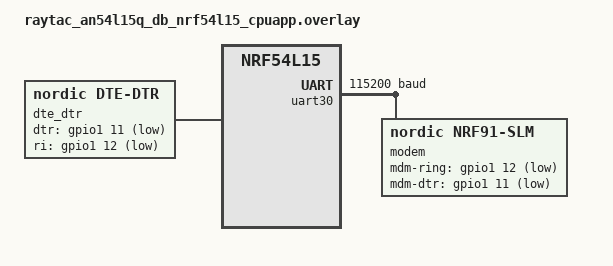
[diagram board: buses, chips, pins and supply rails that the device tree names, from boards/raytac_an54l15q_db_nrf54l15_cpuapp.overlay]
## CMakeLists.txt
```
#
# Copyright (c) 2025 Nordic Semiconductor ASA
#
# SPDX-License-Identifier: LicenseRef-Nordic-5-Clause
#

cmake_minimum_required(VERSION 3.20.0)

find_package(Zephyr REQUIRED HINTS $ENV{ZEPHYR_BASE})
project(app)

target_sources(app PRIVATE
	src/main.c
	src/host_power_profile.c
)

# Apply certificate date validation to the TLS library as well as the app.
zephyr_include_directories(src)
zephyr_compile_definitions(MBEDTLS_USER_CONFIG_FILE="tls_time.h")
```

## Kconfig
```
mainmenu "Serial Modem periodic HTTPS test"

config HTTPS_TEST_INTERVAL_SECONDS
    int "HTTPS request start-to-start interval in seconds"
    range 1 86400
    default 60

choice HOST_POWER_PROFILE
	prompt "Host-controlled cellular power profile"
	default HOST_POWER_PROFILE_NONE

config HOST_POWER_PROFILE_NONE
	bool "Do not change PSM or eDRX"
	select SM_AT_CLIENT
	help
	  Leave the modem settings unchanged at startup. The runtime
	  power_profile shell command remains available.

config HOST_POWER_PROFILE_REGISTERED
	bool "Registered with PSM and eDRX disabled"
	select SM_AT_CLIENT
	help
	  Before PPP startup, the nRF54 disables PSM and eDRX through the
	  Serial Modem AT interface and verifies the resulting configuration.

config HOST_POWER_PROFILE_PSM
	bool "PSM requested with eDRX disabled"
	select SM_AT_CLIENT
	help
	  Before PPP startup, the nRF54 requests PSM, disables eDRX, and
	  verifies the requested PSM timers through the Serial Modem AT interface.

config HOST_POWER_PROFILE_XSLEEP
	bool "Host-issued XSLEEP between HTTPS cycles"
	select SM_AT_CLIENT
	help
	  Disable cellular PSM and eDRX during startup. After each HTTPS cycle,
	  suspend the cellular interface. The patched NCS v3.2.1 legacy cellular
	  driver sends AT+CFUN=4 and AT#XSLEEP=1 before releasing CMUX. Resuming
	  the interface asserts DTR and starts the Serial Modem again.

endchoice

config HOST_POWER_PROFILE_PSM_TAU
	string "Requested periodic TAU as a GPRS Timer 3 bit string"
	default "00100001"

config HOST_POWER_PROFILE_PSM_ACTIVE_TIME
	string "Requested Active-Time as a GPRS Timer 2 bit string"
	default "00000000"

config HOST_POWER_PROFILE_EDRX_ACT_TYPE
	int "eDRX access technology (4=LTE-M, 5=NB-IoT, 6=NTN NB-IoT)"
	range 4 6
	default 4

config HOST_POWER_PROFILE_EDRX_VALUE
	string "Requested four-bit eDRX value"
	default "0011"

source "Kconfig.zephyr"
```

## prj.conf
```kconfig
#
# Copyright (c) 2025 Nordic Semiconductor ASA
#
# SPDX-License-Identifier: LicenseRef-Nordic-5-Clause
#

# Networking
CONFIG_NETWORKING=y
CONFIG_NET_NATIVE=y
CONFIG_NET_L2_PPP=y
CONFIG_NET_L2_ETHERNET=n
CONFIG_NET_IPV4=y
CONFIG_NET_IPV6=y
CONFIG_NET_UDP=y
CONFIG_NET_TCP=y
CONFIG_NET_SOCKETS=y
CONFIG_NET_CONTEXT_RCVTIMEO=y
CONFIG_ZVFS_POLL_MAX=20
CONFIG_ZVFS_OPEN_MAX=20
CONFIG_POSIX_API=y
CONFIG_TEST_RANDOM_GENERATOR=n
CONFIG_ENTROPY_GENERATOR=y
CONFIG_HARDWARE_DEVICE_CS_GENERATOR=y
CONFIG_NET_ZPERF=n
# Sized for one HTTPS request at a time, plus DNS/SNTP and PPP control traffic.
CONFIG_NET_PKT_RX_COUNT=8
CONFIG_NET_PKT_TX_COUNT=8
CONFIG_NET_BUF_RX_COUNT=16
CONFIG_NET_BUF_TX_COUNT=16
CONFIG_NET_BUF_DATA_SIZE=256

# DNS
CONFIG_DNS_RESOLVER=y
CONFIG_DNS_RESOLVER_MAX_SERVERS=4
CONFIG_NET_L2_PPP_OPTION_DNS_USE=y

# Network management
CONFIG_NET_MGMT=y
CONFIG_NET_MGMT_EVENT=y
CONFIG_NET_CONNECTION_MANAGER=y

# Modem driver
CONFIG_MODEM=y
CONFIG_MODEM_CELLULAR=y
CONFIG_PM_DEVICE=y
CONFIG_PM_DEVICE_RUNTIME=y
CONFIG_PM_DEVICE_RUNTIME_USE_DEDICATED_WQ=y
CONFIG_MODEM_CMUX_MTU=127
CONFIG_MODEM_CMUX_WORK_BUFFER_SIZE_EXTRA=532
CONFIG_MODEM_CELLULAR_UART_BUFFER_SIZES=532

# Shell utilities
CONFIG_SHELL=y
CONFIG_NET_SHELL=y
CONFIG_PM_DEVICE_SHELL=y
CONFIG_NET_MGMT_EVENT_MONITOR=y
CONFIG_NET_MGMT_EVENT_MONITOR_AUTO_START=n

# Logging
CONFIG_LOG=y
CONFIG_MODEM_LOG_LEVEL_DBG=y
CONFIG_MODEM_CMUX_LOG_LEVEL_DBG=y

CONFIG_SHELL_LOG_BACKEND=y

# Periodic verified HTTPS requests (performed on the nRF54).
CONFIG_HTTP_CLIENT=y
CONFIG_SNTP=y
CONFIG_NET_SOCKETS_SOCKOPT_TLS=y
CONFIG_NET_SOCKETS_TLS_MAX_CONTEXTS=1
CONFIG_NET_SOCKETS_CONNECT_TIMEOUT=15000
CONFIG_NET_SOCKETS_DNS_TIMEOUT=5000
CONFIG_MBEDTLS=y
CONFIG_MBEDTLS_ENABLE_HEAP=y
# Retain headroom for certificate parsing and the full 16 KiB TLS receive record.
CONFIG_MBEDTLS_HEAP_SIZE=40960
CONFIG_MBEDTLS_TLS_VERSION_1_2=y
CONFIG_MBEDTLS_KEY_EXCHANGE_ECDHE_RSA_ENABLED=y
CONFIG_MBEDTLS_RSA_C=y
CONFIG_MBEDTLS_SSL_IN_CONTENT_LEN=16384
CONFIG_MBEDTLS_SSL_OUT_CONTENT_LEN=2048
CONFIG_HEAP_MEM_POOL_SIZE=4096
CONFIG_HTTPS_TEST_INTERVAL_SECONDS=60

CONFIG_MBEDTLS_TLS_LIBRARY=y
CONFIG_MBEDTLS_LEGACY_CRYPTO_C=y
CONFIG_MBEDTLS_PKCS1_V15=y
CONFIG_PSA_WANT_ALG_GCM=y
CONFIG_PSA_WANT_KEY_TYPE_AES=y
CONFIG_PSA_WANT_ALG_SHA_256=y
CONFIG_PSA_WANT_ALG_SHA_384=y
CONFIG_PSA_WANT_ALG_ECDH=y
CONFIG_PSA_WANT_ECC_SECP_R1_256=y
CONFIG_PSA_WANT_KEY_TYPE_ECC_KEY_PAIR_GENERATE=y
CONFIG_PSA_WANT_KEY_TYPE_ECC_KEY_PAIR_IMPORT=y
CONFIG_PSA_WANT_KEY_TYPE_ECC_PUBLIC_KEY=y
CONFIG_PSA_WANT_ALG_RSA_PKCS1V15_SIGN=y
CONFIG_PSA_WANT_KEY_TYPE_RSA_PUBLIC_KEY=y
CONFIG_PSA_WANT_RSA_KEY_SIZE_2048=y

CONFIG_MBEDTLS_SSL_SERVER_NAME_INDICATION=y
```

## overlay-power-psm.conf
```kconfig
# Host-controlled PSM profile: request one-hour TAU and zero-second Active-Time.
CONFIG_HOST_POWER_PROFILE_PSM=y
CONFIG_HOST_POWER_PROFILE_PSM_TAU="00100001"
CONFIG_HOST_POWER_PROFILE_PSM_ACTIVE_TIME="00000000"
```

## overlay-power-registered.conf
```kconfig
# Host-controlled registered baseline: disable PSM and eDRX.
CONFIG_HOST_POWER_PROFILE_REGISTERED=y
```

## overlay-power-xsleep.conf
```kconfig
# Host-only Serial Modem XSLEEP measurement profile.
CONFIG_HOST_POWER_PROFILE_XSLEEP=y
```

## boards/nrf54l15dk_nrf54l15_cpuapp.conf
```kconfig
#
# Copyright (c) 2025 Nordic Semiconductor ASA
#
# SPDX-License-Identifier: LicenseRef-Nordic-5-Clause
#

# Use UART async API with PM_RUNTIME.
CONFIG_UART_INTERRUPT_DRIVEN=n
CONFIG_UART_ASYNC_API=y
CONFIG_UART_CONSOLE=y
CONFIG_SHELL_BACKEND_SERIAL_API_ASYNC=y
CONFIG_SHELL_BACKEND_SERIAL=y

# UART20 is routed through VCOM1. UART30/VCOM0 is reserved for the modem.
CONFIG_USE_SEGGER_RTT=n
CONFIG_RTT_CONSOLE=n
CONFIG_SHELL_BACKEND_RTT=n

# For debugging purposes, enable GPIO shell commands.
CONFIG_GPIO=y
CONFIG_GPIO_SHELL=y
```

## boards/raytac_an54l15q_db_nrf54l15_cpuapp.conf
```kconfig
#
# Copyright (c) 2025 Nordic Semiconductor ASA
#
# SPDX-License-Identifier: LicenseRef-Nordic-5-Clause
#

# Use UART async API with PM_RUNTIME.
CONFIG_UART_INTERRUPT_DRIVEN=n
CONFIG_UART_ASYNC_API=y

# Use RTT for the shell and diagnostics on the Raytac target.
CONFIG_USE_SEGGER_RTT=y
CONFIG_UART_CONSOLE=n
CONFIG_RTT_CONSOLE=y
CONFIG_SHELL_BACKEND_SERIAL=n
CONFIG_SHELL_BACKEND_RTT=y
CONFIG_LOG_BACKEND_UART=n
CONFIG_LOG_BACKEND_RTT=n

# For debugging purposes, enable GPIO shell commands.
CONFIG_GPIO=y
CONFIG_GPIO_SHELL=y
```

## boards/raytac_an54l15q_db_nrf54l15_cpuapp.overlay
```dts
/*
 * Copyright (c) 2025 Nordic Semiconductor ASA
 *
 * SPDX-License-Identifier: LicenseRef-Nordic-5-Clause
 */


/*
 * See nRF54L15DK GPIO documentation from
 * https://docs.nordicsemi.com/bundle/ug_nrf54l15_dk/page/UG/nRF54L15_DK/hw_desription/connector_if.html
 *
 * UART0 is used for Serial Modem communication and UART1 is used for console/shell.
 *
 * Note: Disable VCOM0 from Board Configurator to release UART0 for Serial Modem.
 *
 * UART0 located on the P0 connector is the "uart30" instance in the device tree.
 * UART1 is "uart20" in the device tree and it is routed to the VCOM1 on the interface chip.
 * RI and DTR signals are located on P1 connector.
 */

/ {
	chosen {
		/* Switch console to uart20 */
		zephyr,console = &uart20;
		zephyr,shell-uart = &uart20;
		ncs,sm-uart = &uart30;
	};

	dte_dtr: dte_dtr {
		compatible = "nordic,dte-dtr";
		dtr-gpios = <&gpio1 11 GPIO_ACTIVE_LOW>;
		ri-gpios = <&gpio1 12 (GPIO_ACTIVE_LOW | GPIO_PULL_UP)>;
	};
};

/* Zephyr modem UART <-> nRF91 Serial Modem UART */
&uart30 {
	status = "okay";
	current-speed = <115200>;
	hw-flow-control;
	zephyr,pm-device-runtime-auto;

	/* Nordic nRF91 Serial Modem configuration */
	modem: modem {
		compatible = "nordic,nrf91-slm";
		status = "okay";
		mdm-ring-gpios = <&gpio1 12 (GPIO_ACTIVE_LOW | GPIO_PULL_UP)>;
		mdm-dtr-gpios = <&gpio1 11 GPIO_ACTIVE_LOW>;
		zephyr,pm-device-runtime-auto;
		cmux-enable-runtime-power-save;
		cmux-close-pipe-on-power-save;
		cmux-idle-timeout-ms = <5000>;
	};
};

&gpio1 {
	status = "okay";
};
```

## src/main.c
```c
/*
 * Copyright (c) 2025 Nordic Semiconductor ASA
 *
 * SPDX-License-Identifier: LicenseRef-Nordic-5-Clause
 */
#include <errno.h>
#include <time.h>
#include <zephyr/kernel.h>
#include <zephyr/logging/log.h>
#include <zephyr/net/http/client.h>
#include <zephyr/net/net_if.h>
#include <zephyr/net/ppp.h>
#include <zephyr/net/sntp.h>
#include <zephyr/net/socket.h>
#include <zephyr/net/tls_credentials.h>
#include "httpbin_ca.h"
#include "host_power_profile.h"

LOG_MODULE_REGISTER(https_test, LOG_LEVEL_INF);

#define HOST "httpbin.org"
#define CA_TAG 42
#define IO_TIMEOUT_MS 15000
#define SNTP_TIMEOUT_MS 5000
#define MODEM_BOOT_DELAY_SECONDS 2
#define PPP_START_TIMEOUT_SECONDS 180
#define PPP_RESTART_DELAY_SECONDS 2

struct request_result {
	size_t bytes;
	uint16_t status;
	bool complete;
};

static uint8_t response_buffer[1024];

static bool connected(struct net_if *iface)
{
	return net_if_is_up(iface) && net_if_is_carrier_ok(iface) &&
	       net_if_ipv4_get_global_addr(iface, NET_ADDR_PREFERRED) != NULL;
}

static int response_cb(struct http_response *rsp, enum http_final_call final,
		       void *user_data)
{
	struct request_result *result = user_data;

	result->status = rsp->http_status_code;
	result->bytes += rsp->body_frag_len;
	result->complete = final == HTTP_DATA_FINAL && rsp->message_complete;
	return 0;
}

static int synchronize_time(void)
{
	struct sntp_time now;
	struct zsock_addrinfo hints = {
		.ai_family = AF_INET, .ai_socktype = SOCK_DGRAM,
	};
	struct zsock_addrinfo *address = NULL;
	int ret = zsock_getaddrinfo("time.google.com", "123", &hints, &address);

	if (ret != 0) {
		return -EHOSTUNREACH;
	}
	ret = sntp_simple_addr(address->ai_addr, address->ai_addrlen,
			       SNTP_TIMEOUT_MS, &now);
	zsock_freeaddrinfo(address);

	if (ret < 0) {
		return ret;
	}
	struct timespec ts = {.tv_sec = now.seconds, .tv_nsec = 0};

	if (clock_settime(CLOCK_REALTIME, &ts) < 0) {
		return -errno;
	}
	LOG_INF("Time synchronized; certificate date checking enabled");
	return 0;
}

static int request_once(struct request_result *result)
{
	struct zsock_addrinfo hints = {
		.ai_family = AF_INET, .ai_socktype = SOCK_STREAM,
	};
	struct zsock_addrinfo *addresses = NULL;
	const sec_tag_t tags[] = {CA_TAG};
	const char *headers[] = {"Connection: close\r\n", "Accept: application/json\r\n", NULL};
	struct zsock_timeval timeout = {.tv_sec = IO_TIMEOUT_MS / 1000};
	int verify = TLS_PEER_VERIFY_REQUIRED;
	int ret = zsock_getaddrinfo(HOST, "443", &hints, &addresses);
	int fd = -1;

	if (ret != 0) {
		LOG_WRN("DNS lookup failed: %d", ret);
		return -EHOSTUNREACH;
	}
	fd = zsock_socket(AF_INET, SOCK_STREAM, IPPROTO_TLS_1_2);
	if (fd < 0) {
		ret = -errno;
		goto out;
	}
	if (zsock_setsockopt(fd, SOL_TLS, TLS_SEC_TAG_LIST, tags, sizeof(tags)) < 0 ||
		zsock_setsockopt(fd, SOL_TLS, TLS_HOSTNAME, HOST, sizeof(HOST) - 1) < 0 ||
		zsock_setsockopt(fd, SOL_TLS, TLS_PEER_VERIFY, &verify, sizeof(verify)) < 0 ||
		zsock_setsockopt(fd, SOL_SOCKET, SO_SNDTIMEO, &timeout, sizeof(timeout)) < 0 ||
		zsock_setsockopt(fd, SOL_SOCKET, SO_RCVTIMEO, &timeout, sizeof(timeout)) < 0) {
		ret = -errno;
		goto out;
	}
	if (zsock_connect(fd, addresses->ai_addr, addresses->ai_addrlen) < 0) {
		ret = -errno;
		LOG_WRN("TCP/TLS connection failed: %d", ret);
		goto out;
	}
	struct http_request req = {
		.method = HTTP_GET, .url = "/get", .host = HOST,
		.protocol = "HTTP/1.1", .header_fields = headers,
		.response = response_cb, .recv_buf = response_buffer,
		.recv_buf_len = sizeof(response_buffer),
	};

	ret = http_client_req(fd, &req, IO_TIMEOUT_MS, result);
	if (ret >= 0) {
		ret = result->status == 200 && result->complete ? 0 : -EBADMSG;
	}
out:
	if (fd >= 0) {
		zsock_close(fd);
	}
	zsock_freeaddrinfo(addresses);
	return ret;
}

static int start_ppp(struct net_if *iface)
{
	int ret = net_if_up(iface);

	if (ret < 0 && ret != -EALREADY) {
		LOG_ERR("Cannot start PPP: %d", ret);
		return ret;
	}

	return 0;
}

static int restart_ppp(struct net_if *iface)
{
	int ret;

	LOG_WRN("PPP has no IPv4 after %d seconds; restarting interface",
		PPP_START_TIMEOUT_SECONDS);
	ret = net_if_down(iface);
	if (ret < 0 && ret != -EALREADY) {
		LOG_WRN("Cannot stop PPP for recovery: %d", ret);
	}
	k_sleep(K_SECONDS(PPP_RESTART_DELAY_SECONDS));
	return start_ppp(iface);
}

static int sleep_until_next_cycle(struct net_if *iface, int64_t deadline)
{
	int ret = net_if_down(iface);

	if (ret < 0 && ret != -EALREADY) {
		LOG_ERR("Cannot suspend PPP for XSLEEP: %d", ret);
		return ret;
	}

	LOG_INF("PPP suspended; host shutdown script requested");
	while (true) {
		int64_t remaining = deadline - k_uptime_get();

		if (remaining <= 0) {
			break;
		}
		k_sleep(K_MSEC(MIN(remaining, 1000)));
	}

	LOG_INF("Sleep deadline reached; resuming PPP and waking Serial Modem with DTR");
	return start_ppp(iface);
}

static void https_worker(void *a, void *b, void *c)
{
	ARG_UNUSED(a);
	ARG_UNUSED(b);
	ARG_UNUSED(c);
	struct net_if *iface = net_if_get_first_by_type(&NET_L2_GET_NAME(PPP));
	const int64_t interval = (int64_t)CONFIG_HTTPS_TEST_INTERVAL_SECONDS * 1000;
	bool time_ready = false;
	const bool sleep_between_cycles =
		host_power_profile_suspends_between_cycles();
	uint32_t cycle = 0;
	int64_t next = 0;
	int64_t ppp_started;
	int ret;

	if (iface == NULL) {
		LOG_ERR("No PPP interface: check the board modem overlay");
		return;
	}
	ret = tls_credential_add(CA_TAG, TLS_CREDENTIAL_CA_CERTIFICATE,
							 httpbin_ca, sizeof(httpbin_ca));
	if (ret < 0) {
		LOG_ERR("Cannot install CA certificate: %d", ret);
		return;
	}
	net_if_set_default(iface);
	/* On simultaneous board power-up, let Serial Modem advertise Ready before
	 * the cellular driver sends its first AT command. */
	k_sleep(K_SECONDS(MODEM_BOOT_DELAY_SECONDS));
	ret = host_power_profile_apply(iface);
	if (ret < 0) {
		LOG_ERR("Cannot apply host power profile: %d", ret);
		return;
	}
	ret = start_ppp(iface);
	if (ret < 0) {
		return;
	}
	ppp_started = k_uptime_get();
	LOG_INF("Waiting for PPP IPv4; GET https://" HOST "/get every %d seconds",
			CONFIG_HTTPS_TEST_INTERVAL_SECONDS);
	while (true) {
		if (!connected(iface)) {
			if (!sleep_between_cycles) {
				next = 0;
			}
			if (k_uptime_get() - ppp_started >=
			    PPP_START_TIMEOUT_SECONDS * MSEC_PER_SEC) {
				if (sleep_between_cycles) {
					LOG_WRN("PPP still has no IPv4 after %d seconds; "
						"XSLEEP profile continues waiting",
						PPP_START_TIMEOUT_SECONDS);
					ppp_started = k_uptime_get();
				} else {
					ret = restart_ppp(iface);
					if (ret < 0) {
						return;
					}
					ppp_started = k_uptime_get();
				}
			}
			k_sleep(K_SECONDS(1));
			continue;
		}
		/* A later disconnect gets a fresh recovery window. */
		ppp_started = k_uptime_get();
		host_power_profile_network_lock();
		if (!connected(iface)) {
			host_power_profile_network_unlock();
			continue;
		}
		if (!time_ready) {
			ret = synchronize_time();
			if (ret < 0) {
				host_power_profile_network_unlock();
				LOG_WRN("Time sync failed: %d; retry in 10 seconds", ret);
				k_sleep(K_SECONDS(10));
				continue;
			}
			time_ready = true;
		}
		int64_t now = k_uptime_get();

		if (next == 0) {
			next = now;
		}
		if (now < next) {
			host_power_profile_network_unlock();
			k_sleep(K_MSEC(MIN(next - now, 1000)));
			continue;
		}
		struct request_result result = {0};
		int64_t start = k_uptime_get();

		LOG_INF("cycle=%u start", ++cycle);
		ret = request_once(&result);
		LOG_INF("cycle=%u %s status=%u bytes=%u complete=%u duration_ms=%lld error=%d",
				cycle, ret == 0 ? "SUCCESS" : "FAIL", result.status,
				(unsigned int)result.bytes, result.complete,
				(long long)(k_uptime_get() - start), ret);
		host_power_profile_network_unlock();
		next += interval;
		now = k_uptime_get();
		if (next <= now) {
			int64_t skipped = (now - next) / interval + 1;

			next += skipped * interval;
			LOG_WRN("cycle=%u skipped_intervals=%lld", cycle, (long long)skipped);
		}
		if (sleep_between_cycles) {
			ret = sleep_until_next_cycle(iface, next);
			if (ret < 0) {
				return;
			}
			ppp_started = k_uptime_get();
		}
	}
}

K_THREAD_DEFINE(https_thread, 8192, https_worker, NULL, NULL, NULL, 7, 0, 0);

int main(void)
{
	return 0;
}
```

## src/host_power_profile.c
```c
/*
 * Copyright (c) 2026 Nordic Semiconductor ASA
 *
 * SPDX-License-Identifier: LicenseRef-Nordic-5-Clause
 */

#include <errno.h>
#include <string.h>
#include <zephyr/device.h>
#include <zephyr/kernel.h>
#include <zephyr/logging/log.h>
#include <zephyr/net/net_if.h>
#include <zephyr/net/ppp.h>
#include <zephyr/pm/device.h>
#include <zephyr/shell/shell.h>

#include <sm_at_client.h>

#include "host_power_profile.h"

LOG_MODULE_REGISTER(host_power_profile, LOG_LEVEL_INF);

#define COMMAND_TIMEOUT_SECONDS 10
#define HANDOFF_TIMEOUT_SECONDS 35
#define RESPONSE_BUFFER_SIZE 192

/* Supplied by patches/ncs-v3.2.1-nrf91-slm-uart-handoff.patch. */
extern int modem_cellular_uart_handoff_begin(const struct device *dev);
extern int modem_cellular_uart_handoff_end(const struct device *dev);

enum power_profile {
	POWER_PROFILE_UNCHANGED,
	POWER_PROFILE_REGISTERED,
	POWER_PROFILE_PSM,
	POWER_PROFILE_EDRX,
	POWER_PROFILE_PSM_EDRX,
};

static const struct device *const modem_dev = DEVICE_DT_GET(DT_NODELABEL(modem));
static K_SEM_DEFINE(response_complete, 0, 1);
static K_MUTEX_DEFINE(network_mutex);
static char response[RESPONSE_BUFFER_SIZE];
static size_t response_length;
static bool capture_response;
static enum power_profile active_profile = POWER_PROFILE_UNCHANGED;

static const char *profile_name(enum power_profile profile)
{
	switch (profile) {
	case POWER_PROFILE_REGISTERED:
		return "registered";
	case POWER_PROFILE_PSM:
		return "psm";
	case POWER_PROFILE_EDRX:
		return "edrx";
	case POWER_PROFILE_PSM_EDRX:
		return "psm_edrx";
	default:
		return "unchanged";
	}
}

static void response_handler(const uint8_t *data, size_t length)
{
	if (!capture_response) {
		return;
	}

	size_t available = sizeof(response) - 1 - response_length;
	size_t copied = MIN(length, available);

	memcpy(response + response_length, data, copied);
	response_length += copied;
	response[response_length] = '\0';

	if (strstr(response, "\r\nOK\r\n") != NULL ||
	    strstr(response, "\r\nERROR\r\n") != NULL ||
	    strstr(response, "\r\n+CME ERROR:") != NULL ||
	    strstr(response, "\r\n+CMS ERROR:") != NULL) {
		k_sem_give(&response_complete);
	}
}

static int command_send(const char *command)
{
	int ret;

	capture_response = false;
	response_length = 0;
	response[0] = '\0';
	k_sem_reset(&response_complete);
	capture_response = true;

	ret = sm_at_client_send_cmd(command, COMMAND_TIMEOUT_SECONDS);
	if (ret != AT_CMD_OK) {
		capture_response = false;
		LOG_ERR("%s failed: %d", command, ret);
		return ret < 0 ? ret : -EIO;
	}

	ret = k_sem_take(&response_complete, K_SECONDS(1));
	capture_response = false;
	if (ret < 0) {
		LOG_ERR("Did not capture complete response to %s", command);
	}

	return ret;
}

static int response_require(const char *description, const char *value)
{
	if (strstr(response, value) == NULL) {
		LOG_ERR("%s verification failed: %s", description, response);
		return -EIO;
	}

	return 0;
}

static int edrx_disable_and_verify(void)
{
	int ret = command_send("AT+CEDRXS=0");

	if (ret < 0) {
		return ret;
	}
	ret = command_send("AT+CEDRXS?");
	if (ret < 0) {
		return ret;
	}
	if (strstr(response, "+CEDRXS:") != NULL) {
		LOG_ERR("eDRX remains configured: %s", response);
		return -EIO;
	}

	return 0;
}

static int edrx_enable_and_verify(void)
{
	char command[40];
	int ret;

	snprintk(command, sizeof(command), "AT+CEDRXS=2,%d,\"%s\"",
		 CONFIG_HOST_POWER_PROFILE_EDRX_ACT_TYPE,
		 CONFIG_HOST_POWER_PROFILE_EDRX_VALUE);
	ret = command_send(command);
	if (ret < 0) {
		return ret;
	}
	ret = command_send("AT+CEDRXS?");
	if (ret < 0) {
		return ret;
	}
	ret = response_require("eDRX enabled", "+CEDRXS:");
	if (ret == 0) {
		ret = response_require("requested eDRX value",
				       CONFIG_HOST_POWER_PROFILE_EDRX_VALUE);
	}

	return ret;
}

static int profile_configure(enum power_profile profile)
{
	bool psm_enabled = profile == POWER_PROFILE_PSM ||
			   profile == POWER_PROFILE_PSM_EDRX;
	bool edrx_enabled = profile == POWER_PROFILE_EDRX ||
			    profile == POWER_PROFILE_PSM_EDRX;
	int ret = command_send("AT+CFUN=4");

	if (ret < 0) {
		return ret;
	}

	if (!psm_enabled) {
		ret = command_send("AT+CPSMS=0");
	} else {
		char command[64];

		snprintk(command, sizeof(command), "AT+CPSMS=1,,,\"%s\",\"%s\"",
			 CONFIG_HOST_POWER_PROFILE_PSM_TAU,
			 CONFIG_HOST_POWER_PROFILE_PSM_ACTIVE_TIME);
		ret = command_send(command);
	}
	if (ret < 0) {
		return ret;
	}

	ret = edrx_enabled ? edrx_enable_and_verify() : edrx_disable_and_verify();
	if (ret < 0) {
		return ret;
	}
	ret = command_send("AT+CPSMS?");
	if (ret < 0) {
		return ret;
	}

	if (!psm_enabled) {
		ret = response_require("PSM disabled", "+CPSMS: 0");
	} else {
		ret = response_require("PSM enabled", "+CPSMS: 1");
		if (ret == 0) {
			ret = response_require("requested periodic TAU",
					       CONFIG_HOST_POWER_PROFILE_PSM_TAU);
		}
		if (ret == 0) {
			ret = response_require("requested Active-Time",
					       CONFIG_HOST_POWER_PROFILE_PSM_ACTIVE_TIME);
		}
	}

	return ret;
}

static int wait_for_modem_suspended(void)
{
	int64_t deadline = k_uptime_get() + HANDOFF_TIMEOUT_SECONDS * MSEC_PER_SEC;

	while (k_uptime_get() < deadline) {
		enum pm_device_state state;
		int ret = pm_device_state_get(modem_dev, &state);

		if (ret < 0) {
			return ret;
		}
		if (state == PM_DEVICE_STATE_SUSPENDED) {
			return 0;
		}
		k_sleep(K_MSEC(20));
	}

	return -ETIMEDOUT;
}

static int profile_change(struct net_if *iface, enum power_profile profile, bool reconnect)
{
	bool handed_off = false;
	bool at_client_initialized = false;
	int first_error = 0;
	int ret;

	if (!device_is_ready(modem_dev)) {
		return -ENODEV;
	}

	k_mutex_lock(&network_mutex, K_FOREVER);

	ret = net_if_down(iface);
	if (ret < 0 && ret != -EALREADY) {
		first_error = ret;
		goto out;
	}

	ret = wait_for_modem_suspended();
	if (ret < 0) {
		LOG_ERR("Cellular driver did not suspend: %d", ret);
		first_error = ret;
		goto out;
	}

	ret = modem_cellular_uart_handoff_begin(modem_dev);
	if (ret < 0) {
		LOG_ERR("Cannot release cellular-driver UART backend: %d", ret);
		first_error = ret;
		goto out;
	}
	handed_off = true;

	/* Give Serial Modem time to finish leaving CMUX and return to raw AT. */
	k_sleep(K_MSEC(100));
	ret = sm_at_client_init(response_handler, false, K_NO_WAIT);
	if (ret < 0) {
		LOG_ERR("Cannot initialize temporary AT client: %d", ret);
		first_error = ret;
		goto out;
	}
	at_client_initialized = true;

	ret = command_send("AT");
	if (ret == 0) {
		ret = profile_configure(profile);
	}
	if (ret < 0) {
		first_error = ret;
	} else {
		active_profile = profile;
		LOG_INF("Runtime power profile applied: %s", profile_name(profile));
	}

out:
	if (at_client_initialized) {
		ret = sm_at_client_uninit();
		if (ret < 0 && first_error == 0) {
			first_error = ret;
		}
	}
	if (handed_off) {
		ret = modem_cellular_uart_handoff_end(modem_dev);
		if (ret < 0) {
			LOG_ERR("Cannot restore cellular-driver UART backend: %d", ret);
			if (first_error == 0) {
				first_error = ret;
			}
			reconnect = false;
		}
	}

	/* Even a failed command may have reached CFUN=4. Reconnect after the UART
	 * backend is restored so the normal dial script returns to CFUN=1. */
	if (reconnect) {
		ret = net_if_up(iface);
		if (ret < 0 && ret != -EALREADY && first_error == 0) {
			first_error = ret;
		}
	}

	k_mutex_unlock(&network_mutex);
	return first_error;
}

int host_power_profile_apply(struct net_if *iface)
{
#if defined(CONFIG_HOST_POWER_PROFILE_REGISTERED) || defined(CONFIG_HOST_POWER_PROFILE_XSLEEP)
	return profile_change(iface, POWER_PROFILE_REGISTERED, false);
#elif defined(CONFIG_HOST_POWER_PROFILE_PSM)
	return profile_change(iface, POWER_PROFILE_PSM, false);
#else
	LOG_INF("Host power profile: unchanged; runtime command available");
	return 0;
#endif
}

bool host_power_profile_suspends_between_cycles(void)
{
	return IS_ENABLED(CONFIG_HOST_POWER_PROFILE_XSLEEP);
}

void host_power_profile_network_lock(void)
{
	k_mutex_lock(&network_mutex, K_FOREVER);
}

void host_power_profile_network_unlock(void)
{
	k_mutex_unlock(&network_mutex);
}

static int profile_shell(const struct shell *shell, size_t argc, char **argv)
{
	struct net_if *iface = net_if_get_first_by_type(&NET_L2_GET_NAME(PPP));
	enum power_profile profile;
	int ret;

	ARG_UNUSED(argc);

	if (iface == NULL) {
		shell_error(shell, "PPP interface not found");
		return -ENODEV;
	}
	if (strcmp(argv[1], "registered") == 0) {
		profile = POWER_PROFILE_REGISTERED;
	} else if (strcmp(argv[1], "psm") == 0) {
		profile = POWER_PROFILE_PSM;
	} else if (strcmp(argv[1], "edrx") == 0) {
		profile = POWER_PROFILE_EDRX;
	} else if (strcmp(argv[1], "psm_edrx") == 0) {
		profile = POWER_PROFILE_PSM_EDRX;
	} else if (strcmp(argv[1], "status") == 0) {
		shell_print(shell, "Requested profile: %s", profile_name(active_profile));
		return 0;
	} else {
		shell_error(shell, "Use registered, psm, edrx, psm_edrx, or status");
		return -EINVAL;
	}

	shell_print(shell, "Switching to %s; PPP will disconnect and reconnect",
		    profile_name(profile));
	ret = profile_change(iface, profile, true);
	if (ret < 0) {
		shell_error(shell, "Profile switch failed: %d", ret);
		return ret;
	}
	shell_print(shell, "Profile %s accepted; PPP restart initiated",
		    profile_name(profile));
	return 0;
}

SHELL_CMD_ARG_REGISTER(power_profile, NULL,
		       "Runtime profile: power_profile <registered|psm|edrx|psm_edrx|status>",
		       profile_shell, 2, 0);
```

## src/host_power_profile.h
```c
/*
 * Copyright (c) 2026 Nordic Semiconductor ASA
 *
 * SPDX-License-Identifier: LicenseRef-Nordic-5-Clause
 */

#ifndef HOST_POWER_PROFILE_H_
#define HOST_POWER_PROFILE_H_

#include <stdbool.h>
#include <zephyr/net/net_if.h>

int host_power_profile_apply(struct net_if *iface);
bool host_power_profile_suspends_between_cycles(void);
void host_power_profile_network_lock(void);
void host_power_profile_network_unlock(void);

#endif /* HOST_POWER_PROFILE_H_ */
```

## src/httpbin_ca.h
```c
/* Amazon Root CA 1 (DER), from the system CA store. See README.md. */
static const unsigned char httpbin_ca[] = {
    0x30, 0x82, 0x03, 0x41, 0x30, 0x82, 0x02, 0x29, 0xa0, 0x03, 0x02, 0x01,
    0x02, 0x02, 0x13, 0x06, 0x6c, 0x9f, 0xcf, 0x99, 0xbf, 0x8c, 0x0a, 0x39,
    0xe2, 0xf0, 0x78, 0x8a, 0x43, 0xe6, 0x96, 0x36, 0x5b, 0xca, 0x30, 0x0d,
    0x06, 0x09, 0x2a, 0x86, 0x48, 0x86, 0xf7, 0x0d, 0x01, 0x01, 0x0b, 0x05,
    0x00, 0x30, 0x39, 0x31, 0x0b, 0x30, 0x09, 0x06, 0x03, 0x55, 0x04, 0x06,
    0x13, 0x02, 0x55, 0x53, 0x31, 0x0f, 0x30, 0x0d, 0x06, 0x03, 0x55, 0x04,
    0x0a, 0x13, 0x06, 0x41, 0x6d, 0x61, 0x7a, 0x6f, 0x6e, 0x31, 0x19, 0x30,
    0x17, 0x06, 0x03, 0x55, 0x04, 0x03, 0x13, 0x10, 0x41, 0x6d, 0x61, 0x7a,
    0x6f, 0x6e, 0x20, 0x52, 0x6f, 0x6f, 0x74, 0x20, 0x43, 0x41, 0x20, 0x31,
    0x30, 0x1e, 0x17, 0x0d, 0x31, 0x35, 0x30, 0x35, 0x32, 0x36, 0x30, 0x30,
    0x30, 0x30, 0x30, 0x30, 0x5a, 0x17, 0x0d, 0x33, 0x38, 0x30, 0x31, 0x31,
    0x37, 0x30, 0x30, 0x30, 0x30, 0x30, 0x30, 0x5a, 0x30, 0x39, 0x31, 0x0b,
    0x30, 0x09, 0x06, 0x03, 0x55, 0x04, 0x06, 0x13, 0x02, 0x55, 0x53, 0x31,
    0x0f, 0x30, 0x0d, 0x06, 0x03, 0x55, 0x04, 0x0a, 0x13, 0x06, 0x41, 0x6d,
    0x61, 0x7a, 0x6f, 0x6e, 0x31, 0x19, 0x30, 0x17, 0x06, 0x03, 0x55, 0x04,
    0x03, 0x13, 0x10, 0x41, 0x6d, 0x61, 0x7a, 0x6f, 0x6e, 0x20, 0x52, 0x6f,
    0x6f, 0x74, 0x20, 0x43, 0x41, 0x20, 0x31, 0x30, 0x82, 0x01, 0x22, 0x30,
    0x0d, 0x06, 0x09, 0x2a, 0x86, 0x48, 0x86, 0xf7, 0x0d, 0x01, 0x01, 0x01,
    0x05, 0x00, 0x03, 0x82, 0x01, 0x0f, 0x00, 0x30, 0x82, 0x01, 0x0a, 0x02,
    0x82, 0x01, 0x01, 0x00, 0xb2, 0x78, 0x80, 0x71, 0xca, 0x78, 0xd5, 0xe3,
    0x71, 0xaf, 0x47, 0x80, 0x50, 0x74, 0x7d, 0x6e, 0xd8, 0xd7, 0x88, 0x76,
    0xf4, 0x99, 0x68, 0xf7, 0x58, 0x21, 0x60, 0xf9, 0x74, 0x84, 0x01, 0x2f,
    0xac, 0x02, 0x2d, 0x86, 0xd3, 0xa0, 0x43, 0x7a, 0x4e, 0xb2, 0xa4, 0xd0,
    0x36, 0xba, 0x01, 0xbe, 0x8d, 0xdb, 0x48, 0xc8, 0x07, 0x17, 0x36, 0x4c,
    0xf4, 0xee, 0x88, 0x23, 0xc7, 0x3e, 0xeb, 0x37, 0xf5, 0xb5, 0x19, 0xf8,
    0x49, 0x68, 0xb0, 0xde, 0xd7, 0xb9, 0x76, 0x38, 0x1d, 0x61, 0x9e, 0xa4,
    0xfe, 0x82, 0x36, 0xa5, 0xe5, 0x4a, 0x56, 0xe4, 0x45, 0xe1, 0xf9, 0xfd,
    0xb4, 0x16, 0xfa, 0x74, 0xda, 0x9c, 0x9b, 0x35, 0x39, 0x2f, 0xfa, 0xb0,
    0x20, 0x50, 0x06, 0x6c, 0x7a, 0xd0, 0x80, 0xb2, 0xa6, 0xf9, 0xaf, 0xec,
    0x47, 0x19, 0x8f, 0x50, 0x38, 0x07, 0xdc, 0xa2, 0x87, 0x39, 0x58, 0xf8,
    0xba, 0xd5, 0xa9, 0xf9, 0x48, 0x67, 0x30, 0x96, 0xee, 0x94, 0x78, 0x5e,
    0x6f, 0x89, 0xa3, 0x51, 0xc0, 0x30, 0x86, 0x66, 0xa1, 0x45, 0x66, 0xba,
    0x54, 0xeb, 0xa3, 0xc3, 0x91, 0xf9, 0x48, 0xdc, 0xff, 0xd1, 0xe8, 0x30,
    0x2d, 0x7d, 0x2d, 0x74, 0x70, 0x35, 0xd7, 0x88, 0x24, 0xf7, 0x9e, 0xc4,
    0x59, 0x6e, 0xbb, 0x73, 0x87, 0x17, 0xf2, 0x32, 0x46, 0x28, 0xb8, 0x43,
    0xfa, 0xb7, 0x1d, 0xaa, 0xca, 0xb4, 0xf2, 0x9f, 0x24, 0x0e, 0x2d, 0x4b,
    0xf7, 0x71, 0x5c, 0x5e, 0x69, 0xff, 0xea, 0x95, 0x02, 0xcb, 0x38, 0x8a,
    0xae, 0x50, 0x38, 0x6f, 0xdb, 0xfb, 0x2d, 0x62, 0x1b, 0xc5, 0xc7, 0x1e,
    0x54, 0xe1, 0x77, 0xe0, 0x67, 0xc8, 0x0f, 0x9c, 0x87, 0x23, 0xd6, 0x3f,
    0x40, 0x20, 0x7f, 0x20, 0x80, 0xc4, 0x80, 0x4c, 0x3e, 0x3b, 0x24, 0x26,
    0x8e, 0x04, 0xae, 0x6c, 0x9a, 0xc8, 0xaa, 0x0d, 0x02, 0x03, 0x01, 0x00,
    0x01, 0xa3, 0x42, 0x30, 0x40, 0x30, 0x0f, 0x06, 0x03, 0x55, 0x1d, 0x13,
    0x01, 0x01, 0xff, 0x04, 0x05, 0x30, 0x03, 0x01, 0x01, 0xff, 0x30, 0x0e,
    0x06, 0x03, 0x55, 0x1d, 0x0f, 0x01, 0x01, 0xff, 0x04, 0x04, 0x03, 0x02,
    0x01, 0x86, 0x30, 0x1d, 0x06, 0x03, 0x55, 0x1d, 0x0e, 0x04, 0x16, 0x04,
    0x14, 0x84, 0x18, 0xcc, 0x85, 0x34, 0xec, 0xbc, 0x0c, 0x94, 0x94, 0x2e,
    0x08, 0x59, 0x9c, 0xc7, 0xb2, 0x10, 0x4e, 0x0a, 0x08, 0x30, 0x0d, 0x06,
    0x09, 0x2a, 0x86, 0x48, 0x86, 0xf7, 0x0d, 0x01, 0x01, 0x0b, 0x05, 0x00,
    0x03, 0x82, 0x01, 0x01, 0x00, 0x98, 0xf2, 0x37, 0x5a, 0x41, 0x90, 0xa1,
    0x1a, 0xc5, 0x76, 0x51, 0x28, 0x20, 0x36, 0x23, 0x0e, 0xae, 0xe6, 0x28,
    0xbb, 0xaa, 0xf8, 0x94, 0xae, 0x48, 0xa4, 0x30, 0x7f, 0x1b, 0xfc, 0x24,
    0x8d, 0x4b, 0xb4, 0xc8, 0xa1, 0x97, 0xf6, 0xb6, 0xf1, 0x7a, 0x70, 0xc8,
    0x53, 0x93, 0xcc, 0x08, 0x28, 0xe3, 0x98, 0x25, 0xcf, 0x23, 0xa4, 0xf9,
    0xde, 0x21, 0xd3, 0x7c, 0x85, 0x09, 0xad, 0x4e, 0x9a, 0x75, 0x3a, 0xc2,
    0x0b, 0x6a, 0x89, 0x78, 0x76, 0x44, 0x47, 0x18, 0x65, 0x6c, 0x8d, 0x41,
    0x8e, 0x3b, 0x7f, 0x9a, 0xcb, 0xf4, 0xb5, 0xa7, 0x50, 0xd7, 0x05, 0x2c,
    0x37, 0xe8, 0x03, 0x4b, 0xad, 0xe9, 0x61, 0xa0, 0x02, 0x6e, 0xf5, 0xf2,
    0xf0, 0xc5, 0xb2, 0xed, 0x5b, 0xb7, 0xdc, 0xfa, 0x94, 0x5c, 0x77, 0x9e,
    0x13, 0xa5, 0x7f, 0x52, 0xad, 0x95, 0xf2, 0xf8, 0x93, 0x3b, 0xde, 0x8b,
    0x5c, 0x5b, 0xca, 0x5a, 0x52, 0x5b, 0x60, 0xaf, 0x14, 0xf7, 0x4b, 0xef,
    0xa3, 0xfb, 0x9f, 0x40, 0x95, 0x6d, 0x31, 0x54, 0xfc, 0x42, 0xd3, 0xc7,
    0x46, 0x1f, 0x23, 0xad, 0xd9, 0x0f, 0x48, 0x70, 0x9a, 0xd9, 0x75, 0x78,
    0x71, 0xd1, 0x72, 0x43, 0x34, 0x75, 0x6e, 0x57, 0x59, 0xc2, 0x02, 0x5c,
    0x26, 0x60, 0x29, 0xcf, 0x23, 0x19, 0x16, 0x8e, 0x88, 0x43, 0xa5, 0xd4,
    0xe4, 0xcb, 0x08, 0xfb, 0x23, 0x11, 0x43, 0xe8, 0x43, 0x29, 0x72, 0x62,
    0xa1, 0xa9, 0x5d, 0x5e, 0x08, 0xd4, 0x90, 0xae, 0xb8, 0xd8, 0xce, 0x14,
    0xc2, 0xd0, 0x55, 0xf2, 0x86, 0xf6, 0xc4, 0x93, 0x43, 0x77, 0x66, 0x61,
    0xc0, 0xb9, 0xe8, 0x41, 0xd7, 0x97, 0x78, 0x60, 0x03, 0x6e, 0x4a, 0x72,
    0xae, 0xa5, 0xd1, 0x7d, 0xba, 0x10, 0x9e, 0x86, 0x6c, 0x1b, 0x8a, 0xb9,
    0x59, 0x33, 0xf8, 0xeb, 0xc4, 0x90, 0xbe, 0xf1, 0xb9,
};
```

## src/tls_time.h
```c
/* NCS nrf-config.h does not map MBEDTLS_HAVE_TIME_DATE from Kconfig. */
#ifndef HTTPS_TEST_TLS_TIME_H
#define HTTPS_TEST_TLS_TIME_H
#define MBEDTLS_HAVE_TIME
#define MBEDTLS_HAVE_TIME_DATE
#endif
```
